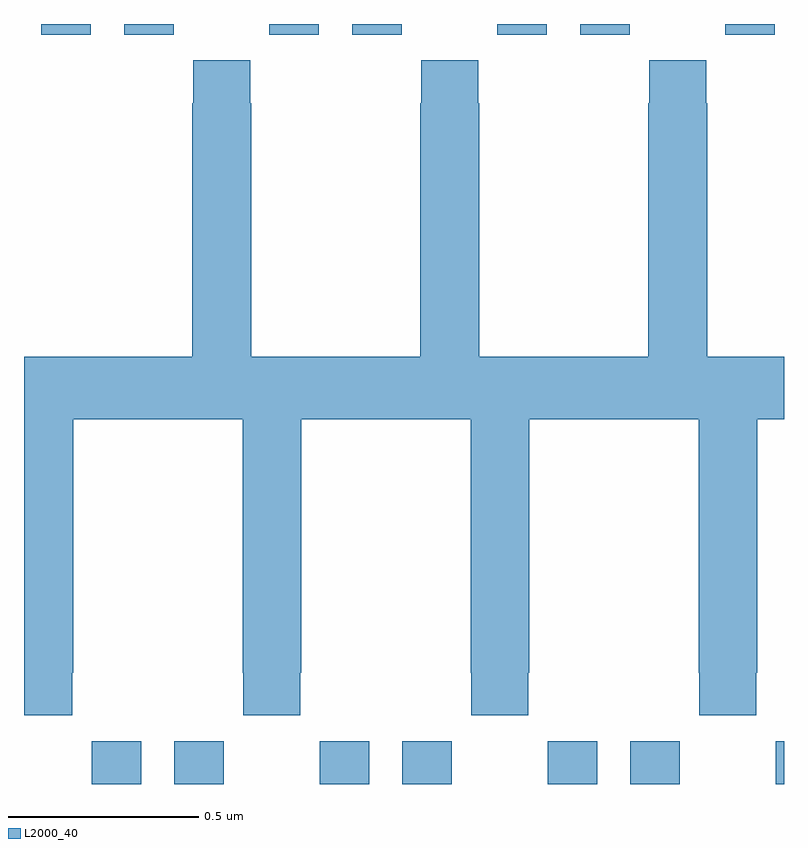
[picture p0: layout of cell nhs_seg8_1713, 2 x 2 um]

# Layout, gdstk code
import gdstk
lib = gdstk.Library(unit=1e-6, precision=1e-09)
def R(c, l, rs):  # rectangles x0, y0, x1, y1
    for r in rs: c.add(gdstk.rectangle(r[:2], r[2:], *l))
def P(c, l, *ps):  # polygons
    for p in ps: c.add(gdstk.Polygon(p, *l))
L2000_40 = (2000, 40)

nhs_seg8_1713 = lib.new_cell('nhs_seg8_1713')
R(nhs_seg8_1713, L2000_40, [(134.178,1088.9,134.308,1089.013), (134.396,1088.9,134.526,1089.013), (134.778,1088.9,134.908,1089.013), (134.996,1088.9,135.126,1089.013), (135.378,1088.9,135.508,1089.013), (135.596,1088.9,135.726,1089.013), (135.978,1088.9,136,1089.013), (134.046,1090.872,134.176,1090.9), (134.264,1090.872,134.394,1090.9), (134.646,1090.872,134.776,1090.9), (134.864,1090.872,134.994,1090.9), (135.246,1090.872,135.376,1090.9), (135.464,1090.872,135.594,1090.9), (135.846,1090.872,135.976,1090.9)])
P(nhs_seg8_1713, L2000_40, [(135.175,1089.193),(135.177,1089.193),(135.177,1089.081),(135.327,1089.081),(135.327,1089.193),(135.33,1089.193),(135.33,1089.86),(135.775,1089.86),(135.775,1089.193),(135.777,1089.193),(135.777,1089.081),(135.927,1089.081),(135.927,1089.193),(135.93,1089.193),(135.93,1089.86),(136,1089.86),(136,1090.024),(135.798,1090.024),(135.798,1090.691),(135.795,1090.691),(135.795,1090.804),(135.645,1090.804),(135.645,1090.691),(135.643,1090.691),(135.643,1090.024),(135.198,1090.024),(135.198,1090.691),(135.195,1090.691),(135.195,1090.804),(135.045,1090.804),(135.045,1090.691),(135.043,1090.691),(135.043,1090.024),(134.598,1090.024),(134.598,1090.691),(134.595,1090.691),(134.595,1090.804),(134.445,1090.804),(134.445,1090.691),(134.443,1090.691),(134.443,1090.024),(134,1090.024),(134,1089.081),(134.127,1089.081),(134.127,1089.193),(134.13,1089.193),(134.13,1089.86),(134.575,1089.86),(134.575,1089.193),(134.577,1089.193),(134.577,1089.081),(134.727,1089.081),(134.727,1089.193),(134.73,1089.193),(134.73,1089.86),(135.175,1089.86)])

lib.write_gds('nhs_seg8_1713.gds')
